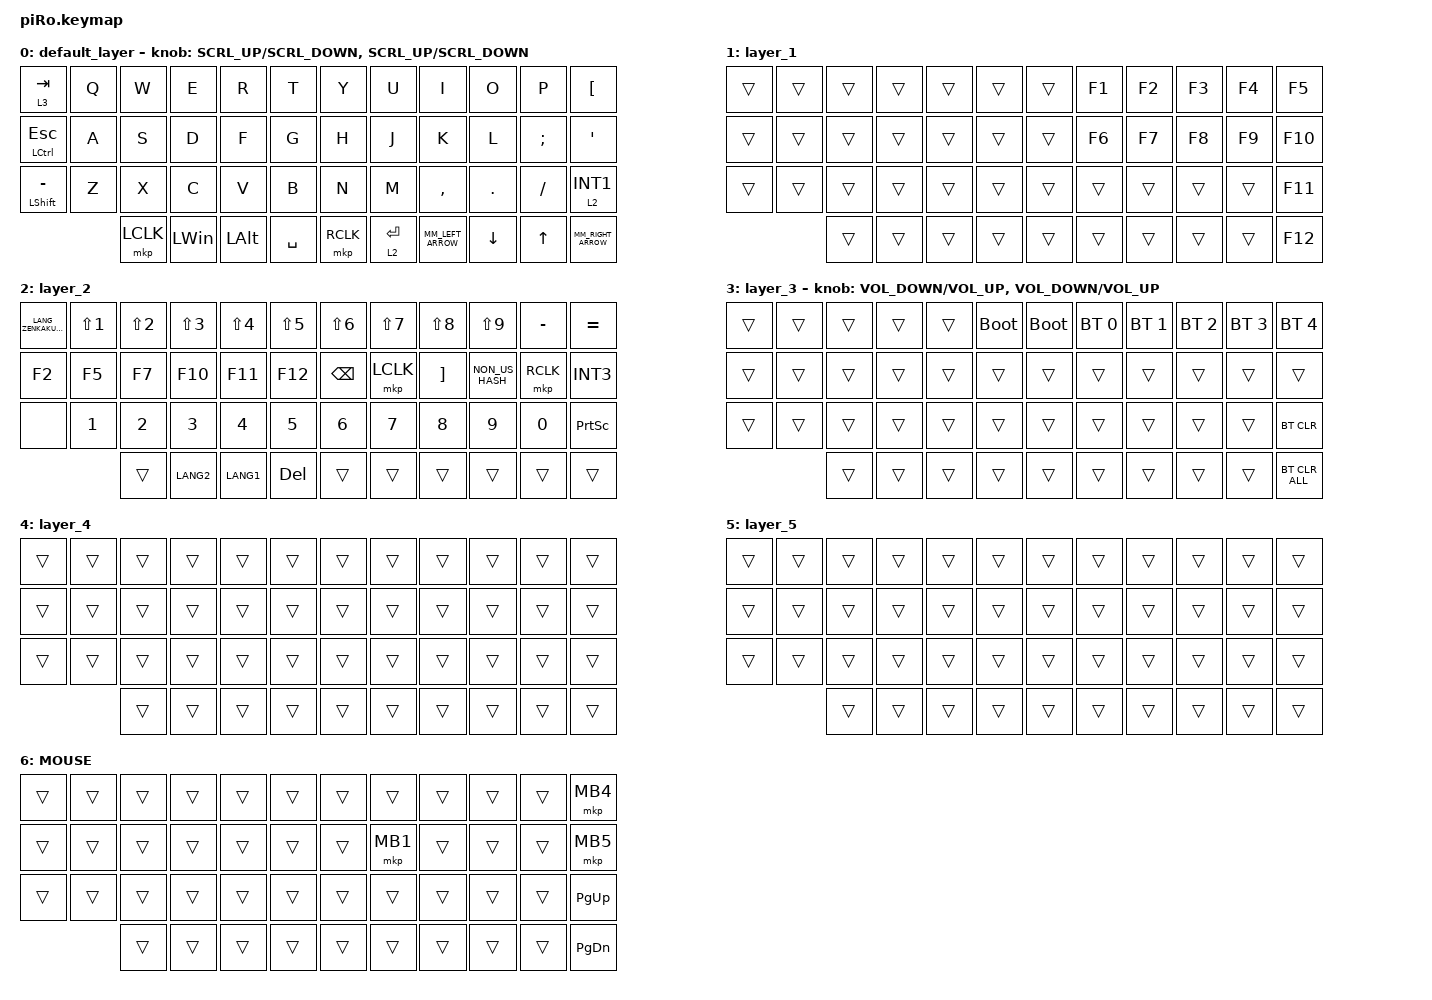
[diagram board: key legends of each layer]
#define ZMK_POINTING_DEFAULT_SCRL_VAL 150

#include <dt-bindings/zmk/input_transform.h>
#include <input/processors.dtsi>
#include <zephyr/dt-bindings/input/input-event-codes.h>
#include <behaviors.dtsi>
#include <dt-bindings/zmk/bt.h>
#include <dt-bindings/zmk/keys.h>
#include <dt-bindings/zmk/pointing.h>

#define MOUSE 6

&mt {
    flavor = "tap-preferred";
    quick-tap-ms = <200>;
};

&lt {
    flavor = "tap-preferred";
    quick-tap-ms = <200>;
};

//mouse scroll

&msc {
    delay-ms = <3>;
    trigger-period-ms = <3>;
    time-to-max-speed-ms = <100>;
    acceleration-exponent = <0>;
};

#define COMBO_TIMEOUT 20

#define MOD_MORPH(name, modifiers, binding1, binding2) \
    name: name { \
        compatible = "zmk,behavior-mod-morph"; \
        bindings = <binding1>, <binding2>; \
        #binding-cells = <0>; \
        mods = <(modifiers)>; \
    };

/ {
    combos {
        compatible = "zmk,combos";

        backspace {
            bindings = <&kp BACKSPACE>;
            key-positions = <7 8>;
            timeout-ms = <COMBO_TIMEOUT>;
        };

        delete {
            bindings = <&kp DELETE>;
            key-positions = <8 9>;
            timeout-ms = <COMBO_TIMEOUT>;
        };

        click {
            bindings = <&mkp MB1>;
            key-positions = <19 20>;
            timeout-ms = <COMBO_TIMEOUT>;
        };

        rclick {
            bindings = <&mkp RCLK>;
            key-positions = <20 21>;
            timeout-ms = <COMBO_TIMEOUT>;
        };

        prevclick {
            bindings = <&mkp MB4>;
            key-positions = <31 32>;
            timeout-ms = <COMBO_TIMEOUT>;
        };

        nextclick {
            bindings = <&mkp MB5>;
            key-positions = <32 33>;
            timeout-ms = <COMBO_TIMEOUT>;
        };

        pageup {
            bindings = <&kp PG_UP>;
            key-positions = <11 23>;
            timeout-ms = <COMBO_TIMEOUT>;
        };

        pagedown {
            bindings = <&kp PAGE_DOWN>;
            key-positions = <35 23>;
            timeout-ms = <COMBO_TIMEOUT>;
        };

        ctrl+w {
            bindings = <&kp RC(W)>;
            key-positions = <23 9>;
            timeout-ms = <COMBO_TIMEOUT>;
        };

        ctrl+r {
            bindings = <&kp RC(R)>;
            key-positions = <23 7>;
            timeout-ms = <COMBO_TIMEOUT>;
        };

        ctrl+t {
            bindings = <&kp RC(T)>;
            key-positions = <23 6>;
            timeout-ms = <COMBO_TIMEOUT>;
        };

        F2combo {
            bindings = <&kp F2>;
            key-positions = <2 3>;
            timeout-ms = <COMBO_TIMEOUT>;
        };
    };

    macros {
        to_layer_0: to_layer_0 {
            compatible = "zmk,behavior-macro-one-param";
            #binding-cells = <1>;
            bindings = <&to 0 &macro_param_1to1 &kp MACRO_PLACEHOLDER>;
            label = "TO_LAYER_0";
        };
    };

    behaviors {
        lt_to_layer_0: lt_to_layer_0 {
            compatible = "zmk,behavior-hold-tap";
            label = "LAYER_TAP_TO_0";
            bindings = <&mo>, <&to_layer_0>;

            #binding-cells = <2>;
            tapping-term-ms = <80>;
            quick-tap-ms = <200>;
        };
        re_kp: sensor_rotate_kp {
            compatible = "zmk,behavior-sensor-rotate-var";
            #sensor-binding-cells = <2>;
            bindings = <&kp>, <&kp>;
        };

        mouse_scrl: mouse_wheel_scrl {
            compatible = "zmk,behavior-sensor-rotate-var";
            #sensor-binding-cells = <2>;
            bindings = <&msc>, <&msc>;

            tap-ms = <20>;
        };

        // ALT+左右キーはマウスクリックのnext prevにする 
        MOD_MORPH(MM_LEFT_ARROW,  MOD_LALT, &kp LEFT_ARROW,  &mkp MB4)     // prev click
        MOD_MORPH(MM_RIGHT_ARROW, MOD_LALT, &kp RIGHT_ARROW, &mkp MB5)     // next click
    };

    keymap {
        compatible = "zmk,keymap";

        default_layer {
            bindings = <
&lt 3 TAB             &kp Q  &kp W      &kp E         &kp R         &kp T        &kp Y      &kp U        &kp I           &kp O           &kp P          &kp LEFT_BRACKET
&mt LCTRL ESCAPE      &kp A  &kp S      &kp D         &kp F         &kp G        &kp H      &kp J        &kp K           &kp L           &kp SEMICOLON  &kp SINGLE_QUOTE
&mt LEFT_SHIFT MINUS  &kp Z  &kp X      &kp C         &kp V         &kp B        &kp N      &kp M        &kp COMMA       &kp DOT         &kp SLASH      &lt 2 INT1
                             &mkp LCLK  &kp LEFT_WIN  &kp LEFT_ALT  &kp SPACE    &mkp RCLK  &lt 2 ENTER  &MM_LEFT_ARROW  &kp DOWN_ARROW  &kp UP_ARROW   &MM_RIGHT_ARROW
            >;

            sensor-bindings = <&mouse_scrl SCRL_UP SCRL_DOWN>, <&mouse_scrl SCRL_UP SCRL_DOWN>;
        };

        layer_1 {
            bindings = <
&trans  &trans  &trans  &trans  &trans  &trans    &trans  &kp F1  &kp F2  &kp F3  &kp F4  &kp F5
&trans  &trans  &trans  &trans  &trans  &trans    &trans  &kp F6  &kp F7  &kp F8  &kp F9  &kp F10
&trans  &trans  &trans  &trans  &trans  &trans    &trans  &trans  &trans  &trans  &trans  &kp F11
                &trans  &trans  &trans  &trans    &trans  &trans  &trans  &trans  &trans  &kp F12
            >;
        };

        layer_2 {
            bindings = <
&kp LANG_ZENKAKUHANKAKU  &kp LS(NUMBER_1)  &kp LS(NUMBER_2)  &kp LS(NUMBER_3)  &kp LS(NUMBER_4)  &kp LS(NUMBER_5)    &kp LS(NUMBER_6)  &kp LS(NUMBER_7)  &kp LS(NUMBER_8)   &kp LS(NUMBER_9)  &kp MINUS     &kp EQUAL
&kp F2                   &kp F5            &kp F7            &kp F10           &kp F11           &kp F12             &kp BACKSPACE     &mkp LCLK         &kp RIGHT_BRACKET  &kp NON_US_HASH   &mkp RCLK     &kp INT3
&none                    &kp NUMBER_1      &kp NUMBER_2      &kp NUMBER_3      &kp NUMBER_4      &kp NUMBER_5        &kp NUMBER_6      &kp NUMBER_7      &kp NUMBER_8       &kp NUMBER_9      &kp NUMBER_0  &kp PRINTSCREEN
                                           &trans            &kp LANG2         &kp LANG1         &kp DELETE          &trans            &trans            &trans             &trans            &trans        &trans
            >;
        };

        layer_3 {
            bindings = <
&trans  &trans  &trans  &trans  &trans  &bootloader    &bootloader  &bt BT_SEL 0  &bt BT_SEL 1  &bt BT_SEL 2  &bt BT_SEL 3  &bt BT_SEL 4
&trans  &trans  &trans  &trans  &trans  &trans         &trans       &trans        &trans        &trans        &trans        &trans
&trans  &trans  &trans  &trans  &trans  &trans         &trans       &trans        &trans        &trans        &trans        &bt BT_CLR
                &trans  &trans  &trans  &trans         &trans       &trans        &trans        &trans        &trans        &bt BT_CLR_ALL
            >;

            sensor-bindings = <&re_kp C_VOLUME_DOWN C_VOLUME_UP>, <&re_kp C_VOLUME_DOWN C_VOLUME_UP>;
        };

        layer_4 {
            bindings = <
&trans  &trans  &trans  &trans  &trans  &trans    &trans  &trans  &trans  &trans  &trans  &trans
&trans  &trans  &trans  &trans  &trans  &trans    &trans  &trans  &trans  &trans  &trans  &trans
&trans  &trans  &trans  &trans  &trans  &trans    &trans  &trans  &trans  &trans  &trans  &trans
                &trans  &trans  &trans  &trans    &trans  &trans  &trans  &trans  &trans  &trans
            >;
        };

        layer_5 {
            bindings = <
&trans  &trans  &trans  &trans  &trans  &trans    &trans  &trans  &trans  &trans  &trans  &trans
&trans  &trans  &trans  &trans  &trans  &trans    &trans  &trans  &trans  &trans  &trans  &trans
&trans  &trans  &trans  &trans  &trans  &trans    &trans  &trans  &trans  &trans  &trans  &trans
                &trans  &trans  &trans  &trans    &trans  &trans  &trans  &trans  &trans  &trans
            >;
        };

        MOUSE {
            bindings = <
&trans  &trans  &trans  &trans  &trans  &trans    &trans  &trans    &trans  &trans  &trans  &mkp MB4
&trans  &trans  &trans  &trans  &trans  &trans    &trans  &mkp MB1  &trans  &trans  &trans  &mkp MB5
&trans  &trans  &trans  &trans  &trans  &trans    &trans  &trans    &trans  &trans  &trans  &kp PG_UP
                &trans  &trans  &trans  &trans    &trans  &trans    &trans  &trans  &trans  &kp PAGE_DOWN
            >;
        };
    };
};
